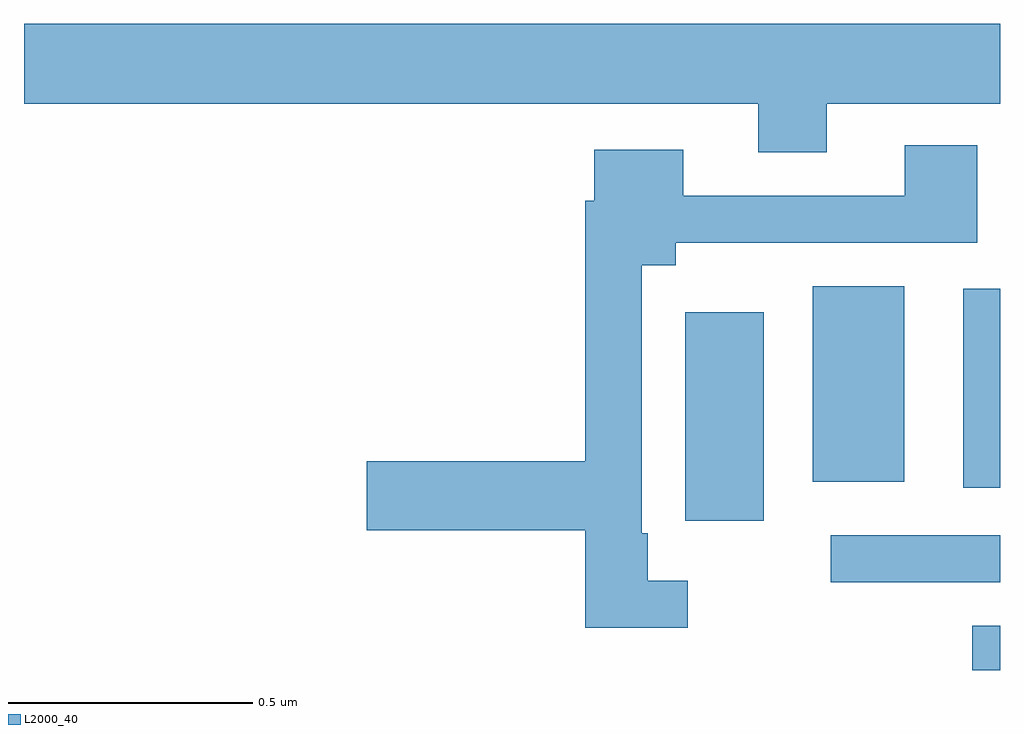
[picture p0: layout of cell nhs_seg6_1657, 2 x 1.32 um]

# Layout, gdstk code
import gdstk
lib = gdstk.Library(unit=1e-6, precision=1e-09)
def R(c, l, rs):  # rectangles x0, y0, x1, y1
    for r in rs: c.add(gdstk.rectangle(r[:2], r[2:], *l))
def P(c, l, *ps):  # polygons
    for p in ps: c.add(gdstk.Polygon(p, *l))
L2000_40 = (2000, 40)

nhs_seg6_1657 = lib.new_cell('nhs_seg6_1657')
R(nhs_seg6_1657, L2000_40, [(133.943,955.5,134,955.591), (133.653,955.68,134,955.776), (133.355,955.806,133.516,956.233), (133.925,955.874,134,956.281), (133.616,955.886,133.804,956.287)])
P(nhs_seg6_1657, L2000_40, [(133.645,956.66),(134,956.66),(134,956.824),(132,956.824),(132,956.66),(133.505,956.66),(133.505,956.561),(133.645,956.561)],
  [(133.36,955.683),(133.278,955.683),(133.278,955.78),(133.266,955.78),(133.266,956.33),(133.336,956.33),(133.336,956.376),(133.953,956.376),(133.953,956.575),(133.805,956.575),(133.805,956.472),(133.351,956.472),(133.351,956.566),(133.169,956.566),(133.169,956.462),(133.15,956.462),(133.15,955.928),(132.702,955.928),(132.702,955.786),(133.15,955.786),(133.15,955.587),(133.36,955.587)])

lib.write_gds('nhs_seg6_1657.gds')
